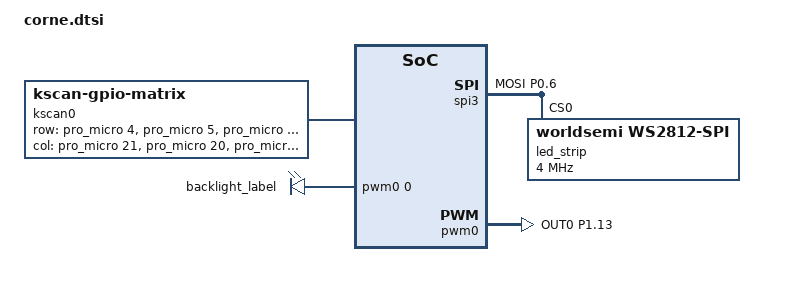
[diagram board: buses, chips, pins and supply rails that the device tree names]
/ {
    chosen {
        zmk,kscan = &kscan0;
        zmk,physical-layout = &layout_0;
        zmk,underglow = &led_strip;
        zmk,backlight = &backlight;
    };

    kscan0: kscan {
        compatible = "zmk,kscan-gpio-matrix";
        diode-direction = "col2row";
        wakeup-source;

        row-gpios
            = <&pro_micro 4 (GPIO_ACTIVE_HIGH | GPIO_PULL_DOWN)>
            , <&pro_micro 5 (GPIO_ACTIVE_HIGH | GPIO_PULL_DOWN)>
            , <&pro_micro 6 (GPIO_ACTIVE_HIGH | GPIO_PULL_DOWN)>
            , <&pro_micro 7 (GPIO_ACTIVE_HIGH | GPIO_PULL_DOWN)>
            ;

        // Оставляем только 6 уникальных пинов для одной стороны
        col-gpios
            = <&pro_micro 21 GPIO_ACTIVE_HIGH> // Col 0
            , <&pro_micro 20 GPIO_ACTIVE_HIGH> // Col 1
            , <&pro_micro 19 GPIO_ACTIVE_HIGH> // Col 2
            , <&pro_micro 18 GPIO_ACTIVE_HIGH> // Col 3 (R, F, V) - ТЕПЕРЬ БЕЗ ДУБЛЕЙ
            , <&pro_micro 15 GPIO_ACTIVE_HIGH> // Col 4
            , <&pro_micro 14 GPIO_ACTIVE_HIGH> // Col 5
            ;
    };

    backlight: pwmleds {
        compatible = "pwm-leds";
        backlight_label: pwm_led_0 {
            pwms = <&pwm0 0 PWM_MSEC(10) PWM_POLARITY_NORMAL>;
        };
    };
};

&pinctrl {
    spi3_default: spi3_default {
        group1 {
            psels = <NRF_PSEL(SPIM_MOSI, 0, 6)>;
        };
    };
    spi3_sleep: spi3_sleep {
        group1 {
            psels = <NRF_PSEL(SPIM_MOSI, 0, 6)>;
            low-power-enable;
        };
    };

    pwm0_default: pwm0_default {
        group1 {
            psels = <NRF_PSEL(PWM_OUT0, 1, 13)>;
        };
    };
    pwm0_sleep: pwm0_sleep {
        group1 {
            psels = <NRF_PSEL(PWM_OUT0, 1, 13)>;
            low-power-enable;
        };
    };
};

&spi3 {
    compatible = "nordic,nrf-spim";
    status = "okay";
    pinctrl-0 = <&spi3_default>;
    pinctrl-1 = <&spi3_sleep>;
    pinctrl-names = "default", "sleep";

    led_strip: ws2812@0 {
        compatible = "worldsemi,ws2812-spi";
        reg = <0>;
        spi-max-frequency = <4000000>;
        chain-length = <27>; 
        spi-one-frame = <0x70>;
        spi-zero-frame = <0x40>;
        color-mapping = <LED_COLOR_ID_GREEN LED_COLOR_ID_RED LED_COLOR_ID_BLUE>;
    };
};

&pwm0 {
    status = "okay";
    pinctrl-0 = <&pwm0_default>;
    pinctrl-1 = <&pwm0_sleep>;
    pinctrl-names = "default", "sleep";
};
